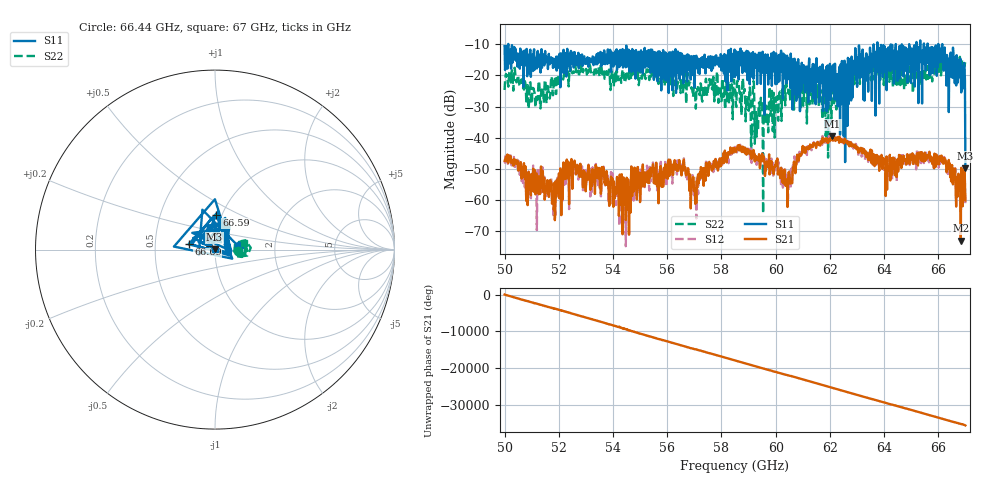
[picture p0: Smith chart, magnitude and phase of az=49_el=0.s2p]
!Created with skrf (http://scikit-rf.org).
# GHz S RI R 50.0
!freq ReS11 ImS11 ReS21 ImS21 ReS12 ImS12 ReS22 ImS22
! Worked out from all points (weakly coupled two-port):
!   1001 points, 50 GHz to 67 GHz, reference 50 ohm
!   highest |S21| = -39.55 dB at 62.09 GHz (marker M1); lowest = -73.1 dB at 66.83 GHz (marker M2)
!   lowest |S11| = -49.9 dB at 67 GHz (marker M3), VSWR 1.01, Z = 49.8 + j0.211 ohm
!   |S11| at or under -10 dB: 50.14 GHz to 63.62 GHz (13.48 GHz wide, 23.7 % of centre); 63.76 GHz to 64.43 GHz (676.7 MHz wide, 1.06 % of centre); 66.15 GHz to end of sweep (the widest 3 of 13)
!   |S22| runs from -64.3 to -14.0 dB; largest |S21 - S12| = 0.0019
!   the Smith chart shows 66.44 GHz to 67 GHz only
!   S11 on the Smith chart (normalised r, x): 66.44 GHz: 1.30, +0.05; 66.59 GHz: 0.94, +0.38; 66.69 GHz: 0.74, +0.04; 67 GHz: 1.00, +0.00
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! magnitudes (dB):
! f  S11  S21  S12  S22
! 50 GHz  -10.5  -47.5  -47.5  -24.7
! 51.82 GHz  -14.8  -63.3  -63.5  -21.0
! 52.26 GHz  -14.7  -53.2  -55.2  -19.8
! 52.84 GHz  -14.7  -52.4  -52.6  -19.6
! 54.56 GHz  -17.2  -53.4  -54.0  -20.0
! 54.88 GHz  -18.5  -59.9  -57.8  -18.1
! 55.68 GHz  -14.1  -61.1  -60.1  -22.7
! 56.58 GHz  -13.5  -50.6  -50.3  -25.4
! 57.05 GHz  -17.7  -56.4  -55.4  -30.7
! 58.5 GHz  -20.5  -43.4  -43.0  -24.6
! 59.61 GHz  -13.5  -52.3  -47.9  -34.7
! 60.47 GHz  -14.5  -51.3  -56.6  -25.8
! 61.34 GHz  -24.8  -42.5  -42.3  -26.3
! 62.09 GHz  -20.7  -39.6  -40.2  -23.0
! 64.18 GHz  -18.3  -50.6  -52.8  -18.5
! 66.08 GHz  -15.7  -47.1  -46.7  -15.6
! 66.44 GHz  -17.5  -52.7  -49.6  -17.8
! 66.59 GHz  -14.3  -50.5  -51.9  -16.1
! 66.69 GHz  -16.5  -55.2  -58.9  -15.7
! 66.83 GHz  -19.6  -73.1  -58.1  -18.5
! 66.9 GHz  -17.0  -62.1  -55.3  -15.1
! 67 GHz  -49.9  -60.2  -61.8  -15.8
